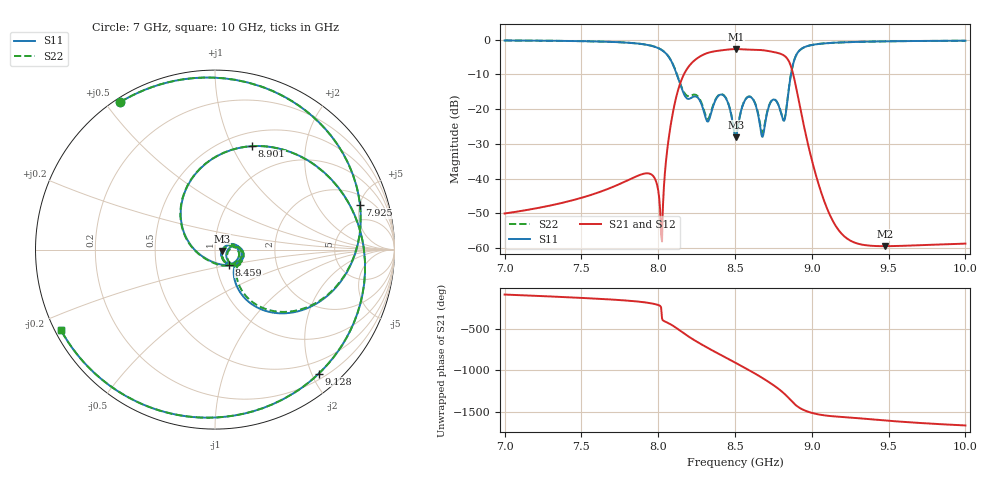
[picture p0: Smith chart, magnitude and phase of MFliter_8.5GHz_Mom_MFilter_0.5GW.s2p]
# MHz S MA R 50
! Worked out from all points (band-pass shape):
!   433 points, 7 GHz to 10 GHz, reference 50 ohm
!   highest |S21| = -2.69 dB at 8.506 GHz (marker M1); lowest = -59.4 dB at 9.475 GHz (marker M2)
!   |S21| within 3 dB of the highest: 8.243 GHz to 8.844 GHz (600.9 MHz wide, 7.03 % of centre)
!   lowest |S11| = -28.0 dB at 8.506 GHz (marker M3), VSWR 1.08, Z = 54 - j0.826 ohm
!   |S11| at or under -10 dB: 8.121 GHz to 8.864 GHz (743.1 MHz wide, 8.75 % of centre)
!   |S22| runs from -27.5 to -0.2 dB; largest |S21 - S12| = 0
!   S11 on the Smith chart (normalised r, x): 7 GHz: 0.02, +0.55; 7.925 GHz: 2.87, +5.03; 8.459 GHz: 1.15, -0.20; 8.901 GHz: 0.65, +1.20; 9.128 GHz: 0.29, -2.11; 10 GHz: 0.02, -0.24
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7000  0.9765 122.7  0.00316 -91.3  0.00316 -91.3  0.9766 122.8
7525  0.9522 82.9  0.00551 -133.9  0.00551 -133.9  0.9524 83.0
7925  0.8458 17.2  0.01197 171.8  0.01197 171.8  0.8476 17.9
8000  0.7576 -7.1  0.006808 143.0  0.006808 143.0  0.7605 -6.1
8025  0.7063 -17.3  0.001252 -18.0  0.001252 -18.0  0.7097 -16.2
8143.75  0.2262 -58.8  0.2378 -166.8  0.2378 -166.8  0.2323 -55.5
8239.062  0.153 -29.6  0.5103 76.3  0.5103 76.3  0.1623 -30.7
8322.396  0.06637 -14.8  0.6463 -12.3  0.6463 -12.3  0.0724 -16.5
8459.259  0.115 -46.6  0.7245 -147.3  0.7245 -147.3  0.1167 -47.4
8500.926  0.04038 -24.6  0.7336 171.3  0.7336 171.3  0.04275 -25.5
8505.556  0.03959 -11.1  0.7338 166.6  0.7338 166.6  0.04194 -12.9
8584.259  0.1499 -8.3  0.7213 87.3  0.7213 87.3  0.1511 -9.3
8658.333  0.06728 -50.8  0.7133 9.0  0.7133 9.0  0.07074 -49.1
8737.5  0.1314 -2.0  0.675 -83.6  0.675 -83.6  0.1327 -6.1
8800  0.08774 -70.1  0.6237 -168.4  0.6237 -168.4  0.08859 -74.7
8848.438  0.1808 155.5  0.5013 108.2  0.5013 108.2  0.1828 155.8
8900.521  0.6126 70.2  0.1929 13.1  0.1929 13.1  0.6118 70.4
9006.25  0.8456 -8.7  0.01654 -75.8  0.01654 -75.8  0.8454 -8.7
9128.125  0.901 -50.1  0.002692 -112.2  0.002692 -112.2  0.901 -50.2
9475  0.9484 -109.4  0.00107 -163.9  0.00107 -163.9  0.9484 -109.4
9512.5  0.9508 -113.6  0.001072 -169.4  0.001072 -169.4  0.9509 -113.6
10000  0.9685 -152.5  0.001164 136.0  0.001164 136.0  0.9685 -152.5
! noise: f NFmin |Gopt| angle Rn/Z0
7000  23.3  0.9766  -122.7  1039
8025  52  0.7063  17.32  2.253e+05
8125  14.37  0.2891  59.47  10.27
8221  6.374  0.1483  41.81  1.305
8346  3.413  0.1274  15.36  0.5576
8552  2.667  0.1033  15.02  0.3996
8733  3.273  0.09831  17.42  0.5
8846  5.552  0.1776  -145.2  0.6324
9025  27.09  0.8583  16.77  1641
1e+04  34.54  0.9684  152.5  2523
